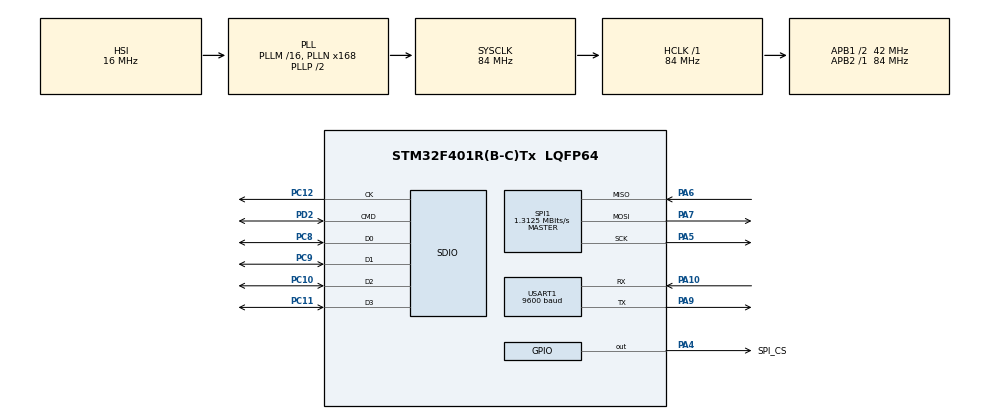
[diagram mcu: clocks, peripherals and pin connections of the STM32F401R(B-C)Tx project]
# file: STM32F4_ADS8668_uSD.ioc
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Mcu.Family=STM32F4
Mcu.Name=STM32F401R(B-C)Tx
Mcu.Package=LQFP64
NVIC.PriorityGroup=NVIC_PRIORITYGROUP_4
NVIC.SPI1_IRQn=true\:0\:0\:false\:false\:true\:true\:true\:true
PA10.Mode=Asynchronous
PA10.Signal=USART1_RX
PA4.GPIO_Label=SPI_CS
PA4.GPIO_Speed=GPIO_SPEED_FREQ_VERY_HIGH
PA4.PinState=GPIO_PIN_SET
PA4.Signal=GPIO_Output
PA5.Mode=Full_Duplex_Master
PA5.Signal=SPI1_SCK
PA6.Mode=Full_Duplex_Master
PA6.Signal=SPI1_MISO
PA7.Mode=Full_Duplex_Master
PA7.Signal=SPI1_MOSI
PA9.Mode=Asynchronous
PA9.Signal=USART1_TX
PC10.Mode=SD_4_bits_Wide_bus
PC10.Signal=SDIO_D2
PC11.Mode=SD_4_bits_Wide_bus
PC11.Signal=SDIO_D3
PC12.Mode=SD_4_bits_Wide_bus
PC12.Signal=SDIO_CK
PC8.Mode=SD_4_bits_Wide_bus
PC8.Signal=SDIO_D0
PC9.Mode=SD_4_bits_Wide_bus
PC9.Signal=SDIO_D1
PD2.Mode=SD_4_bits_Wide_bus
PD2.Signal=SDIO_CMD
ProjectManager.HeapSize=0x200
ProjectManager.StackSize=0x400
ProjectManager.TargetToolchain=STM32CubeIDE
RCC.48MHZClocksFreq_Value=42000000
RCC.AHBFreq_Value=84000000
RCC.APB1CLKDivider=RCC_HCLK_DIV2
RCC.APB1Freq_Value=42000000
RCC.APB1TimFreq_Value=84000000
RCC.APB2Freq_Value=84000000
RCC.APB2TimFreq_Value=84000000
RCC.CortexFreq_Value=84000000
RCC.HCLKFreq_Value=84000000
RCC.HSE_VALUE=8000000
RCC.HSI_VALUE=16000000
RCC.PLLN=168
RCC.RCC_RTC_Clock_Source=RCC_RTCCLKSOURCE_LSI
RCC.RCC_RTC_Clock_SourceVirtual=RCC_RTCCLKSOURCE_LSE
RCC.SYSCLKFreq_VALUE=84000000
RCC.SYSCLKSource=RCC_SYSCLKSOURCE_PLLCLK
RCC.VCOOutputFreq_Value=168000000
SDIO.ClockDiv=2
SPI1.BaudRatePrescaler=SPI_BAUDRATEPRESCALER_64
SPI1.CLKPhase=SPI_PHASE_2EDGE
SPI1.CalculateBaudRate=1.3125 MBits/s
SPI1.Direction=SPI_DIRECTION_2LINES
SPI1.Mode=SPI_MODE_MASTER
SPI1.VirtualType=VM_MASTER
USART1.BaudRate=9600
USART1.VirtualMode=VM_ASYNC
VP_FATFS_VS_SDIO.Mode=SDIO
VP_RTC_VS_RTC_Activate.Mode=RTC_Enabled
board=custom

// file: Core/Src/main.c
/* USER CODE BEGIN Header */
/**
  ******************************************************************************
  * @file           : main.c
  * @brief          : Main program body
  ******************************************************************************
  * @attention
  *
  * Copyright (c) 2023 STMicroelectronics.
  * All rights reserved.
  *
  * This software is licensed under terms that can be found in the LICENSE file
  * in the root directory of this software component.
  * If no LICENSE file comes with this software, it is provided AS-IS.
  *
  ******************************************************************************
  */
/* USER CODE END Header */
#include "main.h"
#include "fatfs.h"

/* USER CODE BEGIN Includes */
#include "ads8668.h"
#include "File_Handling.h"
#include <stdio.h>
#include <string.h>
#include <stdarg.h> //for va_list var arg functions
/* USER CODE END Includes */

RTC_HandleTypeDef hrtc;

SD_HandleTypeDef hsd;

SPI_HandleTypeDef hspi1;

UART_HandleTypeDef huart1;

void SystemClock_Config(void);
static void MX_GPIO_Init(void);
static void MX_RTC_Init(void);
static void MX_SDIO_SD_Init(void);
static void MX_SPI1_Init(void);
static void MX_USART1_UART_Init(void);

/* USER CODE BEGIN 0 */

uint16_t ADC_val[8] = {0};
float Volt[8] = {0.0};
uint8_t readReg = 0;
FRESULT fatfs_res = 0;

void myprintf(const char *fmt, ...) {
  static char buffer[256];
  va_list args;
  va_start(args, fmt);
  vsnprintf(buffer, sizeof(buffer), fmt, args);
  va_end(args);

  int len = strlen(buffer);
  HAL_UART_Transmit(&huart1, (uint8_t*)buffer, len, -1);

}
/* USER CODE END 0 */

int main(void)
{

  /* MCU Configuration--------------------------------------------------------*/

  /* Reset of all peripherals, Initializes the Flash interface and the Systick. */
  HAL_Init();

  /* Configure the system clock */
  SystemClock_Config();

  /* Initialize all configured peripherals */
  MX_GPIO_Init();
  MX_RTC_Init();
  MX_SDIO_SD_Init();
  MX_SPI1_Init();
  MX_USART1_UART_Init();
  MX_FATFS_Init();
  /* USER CODE BEGIN 2 */
  myprintf("Hello word from the board\n");

  /*** TEST ADC **/
  ADS8668_Reset();
  readReg = ADS8668_getChannelSequence();
  readReg = ADS8668_getChannelPowerDown();
  ADS8668_SetChanSeqPowDown(0xFF);   // enable channel 0, power-down the others
  readReg = ADS8668_getChannelSequence();
  readReg = ADS8668_getChannelPowerDown();
  ADS8668_setGlobalRange(R5);       // set all channel range to +- 1.25*Vref
  ADS8668_AutoRst();                  // reset auto sequence

  /*** GET ADC Value **/
  for(int i=0;i<8;i++){
	  ADC_val[i] = ADS8668_NoOp();       // trigger sampling
	  if(ADC_val[i] != 0xFFFF)
		  Volt[i] =  ADS8668_I2V(ADC_val[i],R5);
	  HAL_Delay(100);
  }
  /*** Test Microsd with FATFS **/
  Mount_SD("/");
  fatfs_res = Format_SD();
  fatfs_res = Create_File("FILE1.TXT");
  fatfs_res = Create_File("FILE2.TXT");
  Unmount_SD("/");

  /* USER CODE END 2 */

  /* Infinite loop */
  /* USER CODE BEGIN WHILE */
  while (1)
  {
	  myprintf("Test send UART\n");
	  HAL_Delay(1000);
    /* USER CODE END WHILE */

  }
}

void SystemClock_Config(void)
{
  RCC_OscInitTypeDef RCC_OscInitStruct = {0};
  RCC_ClkInitTypeDef RCC_ClkInitStruct = {0};

  /** Configure the main internal regulator output voltage
  */
  __HAL_RCC_PWR_CLK_ENABLE();
  __HAL_PWR_VOLTAGESCALING_CONFIG(PWR_REGULATOR_VOLTAGE_SCALE2);

  /** Initializes the RCC Oscillators according to the specified parameters
  * in the RCC_OscInitTypeDef structure.
  */
  RCC_OscInitStruct.OscillatorType = RCC_OSCILLATORTYPE_HSI|RCC_OSCILLATORTYPE_LSI;
  RCC_OscInitStruct.HSIState = RCC_HSI_ON;
  RCC_OscInitStruct.HSICalibrationValue = RCC_HSICALIBRATION_DEFAULT;
  RCC_OscInitStruct.LSIState = RCC_LSI_ON;
  RCC_OscInitStruct.PLL.PLLState = RCC_PLL_ON;
  RCC_OscInitStruct.PLL.PLLSource = RCC_PLLSOURCE_HSI;
  RCC_OscInitStruct.PLL.PLLM = 16;
  RCC_OscInitStruct.PLL.PLLN = 168;
  RCC_OscInitStruct.PLL.PLLP = RCC_PLLP_DIV2;
  RCC_OscInitStruct.PLL.PLLQ = 4;
  if (HAL_RCC_OscConfig(&RCC_OscInitStruct) != HAL_OK)
  {
    Error_Handler();
  }

  /** Initializes the CPU, AHB and APB buses clocks
  */
  RCC_ClkInitStruct.ClockType = RCC_CLOCKTYPE_HCLK|RCC_CLOCKTYPE_SYSCLK
                              |RCC_CLOCKTYPE_PCLK1|RCC_CLOCKTYPE_PCLK2;
  RCC_ClkInitStruct.SYSCLKSource = RCC_SYSCLKSOURCE_PLLCLK;
  RCC_ClkInitStruct.AHBCLKDivider = RCC_SYSCLK_DIV1;
  RCC_ClkInitStruct.APB1CLKDivider = RCC_HCLK_DIV2;
  RCC_ClkInitStruct.APB2CLKDivider = RCC_HCLK_DIV1;

  if (HAL_RCC_ClockConfig(&RCC_ClkInitStruct, FLASH_LATENCY_2) != HAL_OK)
  {
    Error_Handler();
  }
}

static void MX_RTC_Init(void)
{

  /** Initialize RTC Only
  */
  hrtc.Instance = RTC;
  hrtc.Init.HourFormat = RTC_HOURFORMAT_24;
  hrtc.Init.AsynchPrediv = 127;
  hrtc.Init.SynchPrediv = 255;
  hrtc.Init.OutPut = RTC_OUTPUT_DISABLE;
  hrtc.Init.OutPutPolarity = RTC_OUTPUT_POLARITY_HIGH;
  hrtc.Init.OutPutType = RTC_OUTPUT_TYPE_OPENDRAIN;
  if (HAL_RTC_Init(&hrtc) != HAL_OK)
  {
    Error_Handler();
  }

}

static void MX_SDIO_SD_Init(void)
{

  hsd.Instance = SDIO;
  hsd.Init.ClockEdge = SDIO_CLOCK_EDGE_RISING;
  hsd.Init.ClockBypass = SDIO_CLOCK_BYPASS_DISABLE;
  hsd.Init.ClockPowerSave = SDIO_CLOCK_POWER_SAVE_DISABLE;
  hsd.Init.BusWide = SDIO_BUS_WIDE_4B;
  hsd.Init.HardwareFlowControl = SDIO_HARDWARE_FLOW_CONTROL_DISABLE;
  hsd.Init.ClockDiv = 2;

}

static void MX_SPI1_Init(void)
{

  /* SPI1 parameter configuration*/
  hspi1.Instance = SPI1;
  hspi1.Init.Mode = SPI_MODE_MASTER;
  hspi1.Init.Direction = SPI_DIRECTION_2LINES;
  hspi1.Init.DataSize = SPI_DATASIZE_8BIT;
  hspi1.Init.CLKPolarity = SPI_POLARITY_LOW;
  hspi1.Init.CLKPhase = SPI_PHASE_2EDGE;
  hspi1.Init.NSS = SPI_NSS_SOFT;
  hspi1.Init.BaudRatePrescaler = SPI_BAUDRATEPRESCALER_64;
  hspi1.Init.FirstBit = SPI_FIRSTBIT_MSB;
  hspi1.Init.TIMode = SPI_TIMODE_DISABLE;
  hspi1.Init.CRCCalculation = SPI_CRCCALCULATION_DISABLE;
  hspi1.Init.CRCPolynomial = 10;
  if (HAL_SPI_Init(&hspi1) != HAL_OK)
  {
    Error_Handler();
  }

}

static void MX_USART1_UART_Init(void)
{

  huart1.Instance = USART1;
  huart1.Init.BaudRate = 9600;
  huart1.Init.WordLength = UART_WORDLENGTH_8B;
  huart1.Init.StopBits = UART_STOPBITS_1;
  huart1.Init.Parity = UART_PARITY_NONE;
  huart1.Init.Mode = UART_MODE_TX_RX;
  huart1.Init.HwFlowCtl = UART_HWCONTROL_NONE;
  huart1.Init.OverSampling = UART_OVERSAMPLING_16;
  if (HAL_UART_Init(&huart1) != HAL_OK)
  {
    Error_Handler();
  }

}

static void MX_GPIO_Init(void)
{
  GPIO_InitTypeDef GPIO_InitStruct = {0};

  /* GPIO Ports Clock Enable */
  __HAL_RCC_GPIOA_CLK_ENABLE();
  __HAL_RCC_GPIOC_CLK_ENABLE();
  __HAL_RCC_GPIOD_CLK_ENABLE();

  /*Configure GPIO pin Output Level */
  HAL_GPIO_WritePin(SPI_CS_GPIO_Port, SPI_CS_Pin, GPIO_PIN_SET);

  /*Configure GPIO pin : SPI_CS_Pin */
  GPIO_InitStruct.Pin = SPI_CS_Pin;
  GPIO_InitStruct.Mode = GPIO_MODE_OUTPUT_PP;
  GPIO_InitStruct.Pull = GPIO_NOPULL;
  GPIO_InitStruct.Speed = GPIO_SPEED_FREQ_VERY_HIGH;
  HAL_GPIO_Init(SPI_CS_GPIO_Port, &GPIO_InitStruct);

}

void Error_Handler(void)
{
  __disable_irq();
  while (1)
  {
  }
}
